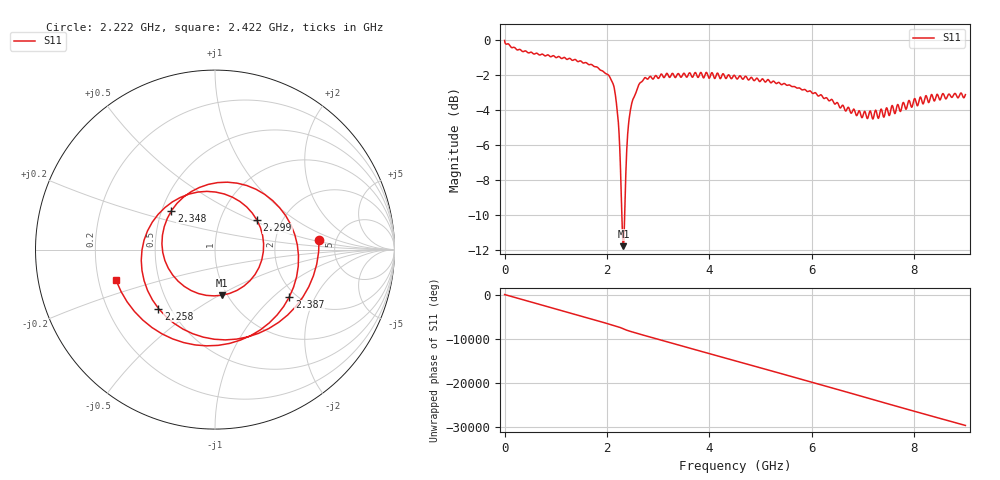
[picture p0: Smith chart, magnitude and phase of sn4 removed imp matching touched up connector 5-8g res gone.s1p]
# Hz S DB R 50
! CMT, C1209, 21460007, 21.4.4/2
! Date: 4/14/2023 1:53:21 PM
! Data: Format (Calibration Info)
! Freq	S11:dB/Ang(--)
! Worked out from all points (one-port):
!   5000 points, 100 kHz to 9 GHz, reference 50 ohm
!   lowest |S11| = -11.8 dB at 2.321 GHz (marker M1), VSWR 1.69, Z = 47.3 - j25.7 ohm
!   |S11| at or under -10 dB: 2.29 GHz to 2.346 GHz (56.11 MHz wide, 2.42 % of centre)
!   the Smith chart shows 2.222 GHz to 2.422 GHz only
!   S11 on the Smith chart (normalised r, x): 2.222 GHz: 3.68, +0.60; 2.258 GHz: 0.43, -0.36; 2.299 GHz: 1.50, +0.53; 2.348 GHz: 0.56, +0.27; 2.387 GHz: 1.83, -1.28; 2.422 GHz: 0.27, -0.14
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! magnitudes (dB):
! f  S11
! 100 kHz  0.0
! 353 MHz  -0.6
! 1.125 GHz  -1.0
! 1.703 GHz  -1.4
! 2.036 GHz  -2.0
! 2.146 GHz  -2.8
! 2.189 GHz  -3.8
! 2.222 GHz  -4.7
! 2.251 GHz  -6.3
! 2.258 GHz  -6.8
! 2.283 GHz  -9.3
! 2.299 GHz  -10.9
! 2.321 GHz  -11.8
! 2.333 GHz  -11.2
! 2.348 GHz  -9.8
! 2.387 GHz  -6.2
! 2.422 GHz  -4.8
! 2.458 GHz  -4.0
! 2.503 GHz  -3.4
! 2.699 GHz  -2.3
! 3.376 GHz  -1.9
! 4.501 GHz  -2.0
! 5.626 GHz  -2.7
! 6.751 GHz  -4.1
! 7.192 GHz  -4.5
! 7.877 GHz  -3.6
! 8.341 GHz  -3.1
! 9 GHz  -3.1
